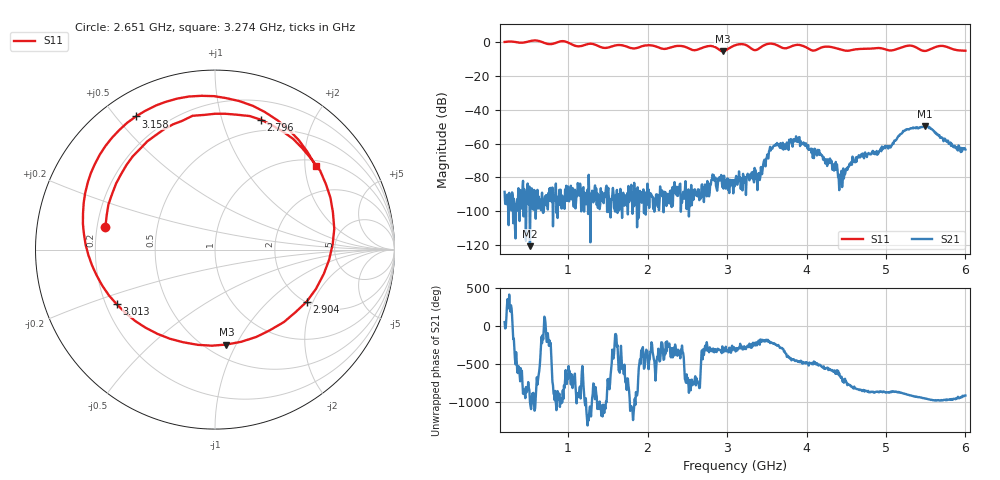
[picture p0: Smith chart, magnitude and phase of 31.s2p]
! NanoVNA-App
! Date: 2024-06-25 16:11:53
! Start: 200MHz Stop: 6GHz Points: 801
! S-Parameter data: F S11 S21 S12 S22
# Hz S RI R 50
!  Frequency  S11_Real  S11_Imag  S21_Real  S21_Imag  S12_Real  S12_Imag  S22_Real  S22_Imag
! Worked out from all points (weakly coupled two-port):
!   801 points, 200 MHz to 6 GHz, reference 50 ohm
!   highest |S21| = -49.63 dB at 5.492 GHz (marker M1); lowest = -120.6 dB at 519 MHz (marker M2)
!   lowest |S11| = -5.5 dB at 2.948 GHz (marker M3), VSWR 3.28, Z = 31 - j45.8 ohm
!   |S11| at or under -10 dB: nowhere
!   S12 and S22 are empty: the file has one direction only
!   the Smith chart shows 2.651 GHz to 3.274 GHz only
!   S11 on the Smith chart (normalised r, x): 2.651 GHz: 0.23, +0.10; 2.796 GHz: 0.38, +1.34; 2.904 GHz: 2.02, -1.79; 3.013 GHz: 0.24, -0.24; 3.158 GHz: 0.10, +0.57; 3.274 GHz: 1.15, +2.28
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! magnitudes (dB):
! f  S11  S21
! 200 MHz  0.0  -88.5
! 519 MHz  0.5  -120.6
! 1.171 GHz  -2.3  -89.2
! 2.136 GHz  -3.1  -90.6
! 2.651 GHz  -4.1  -93.5
! 2.796 GHz  -2.3  -84.3
! 2.904 GHz  -4.6  -79.8
! 2.948 GHz  -5.5  -79.2
! 3.013 GHz  -4.1  -87.4
! 3.1 GHz  -1.9  -83.9
! 3.158 GHz  -1.3  -81.4
! 3.274 GHz  -2.7  -78.8
! 3.412 GHz  -3.5  -81.6
! 3.607 GHz  -1.4  -61.2
! 3.883 GHz  -1.7  -59.0
! 4.072 GHz  -5.0  -63.2
! 4.427 GHz  -4.4  -80.2
! 4.666 GHz  -4.1  -67.9
! 5.036 GHz  -4.9  -62.2
! 5.246 GHz  -2.4  -51.9
! 5.492 GHz  -5.3  -49.6
! 6 GHz  -5.1  -63.5
